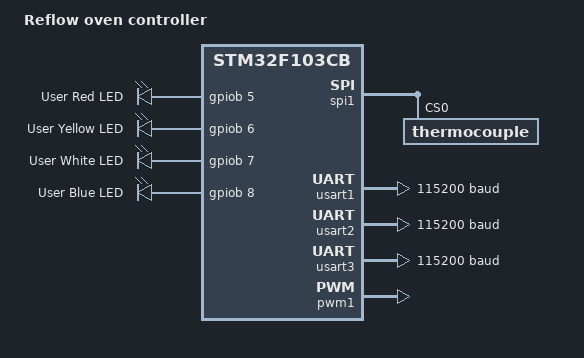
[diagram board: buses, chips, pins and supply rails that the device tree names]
/*
 * Copyright (c) 2017 Linaro Limited
 *
 * SPDX-License-Identifier: Apache-2.0
 */

/dts-v1/;
#include <st/f1/stm32f103Xb.dtsi>

/ {
	model = "Reflow oven controller";
	compatible = "st,stm32f103cb";

	chosen {
		zephyr,console = &usart1;
		zephyr,shell-uart = &usart1;
		zephyr,sram = &sram0;
		zephyr,flash = &flash0;
	};

	leds {
		compatible = "gpio-leds";
		led_red: led_red {
			gpios = <&gpiob 5 GPIO_ACTIVE_HIGH>;
			label = "User Red LED";
		};
		led_yellow: led_yellow {
			gpios = <&gpiob 6 GPIO_ACTIVE_HIGH>;
			label = "User Yellow LED";
		};
		led_white: led_white {
			gpios = <&gpiob 7 GPIO_ACTIVE_HIGH>;
			label = "User White LED";
		};
		led_blue: led_blue {
			gpios = <&gpiob 8 GPIO_ACTIVE_HIGH>;
			label = "User Blue LED";
		};
	};


	
	aliases {
		led0 = &led_red;
	};
};

&spi1 {
	status = "okay";

	thermocouple: thermocouple@0 {
		compatible = "thermocouple";
		label = "THERMOCOUPLE";

		reg = <0>; /* ignored, but necessary for SPI bindings */
	};
};

&usart1 {
	current-speed = <115200>;
	status = "okay";
};

&usart2 {
	current-speed = <115200>;
};

&usart3 {
	current-speed = <115200>;
};


&spi2 {
	#status = "okay";
};

&timers1 {
	#status = "okay";

	pwm1: pwm {
		status = "okay";
	};
};

&iwdg {
	#status = "okay";
};

&adc1 {
	#status = "okay";
};

&usb {
	#status = "okay";
};
